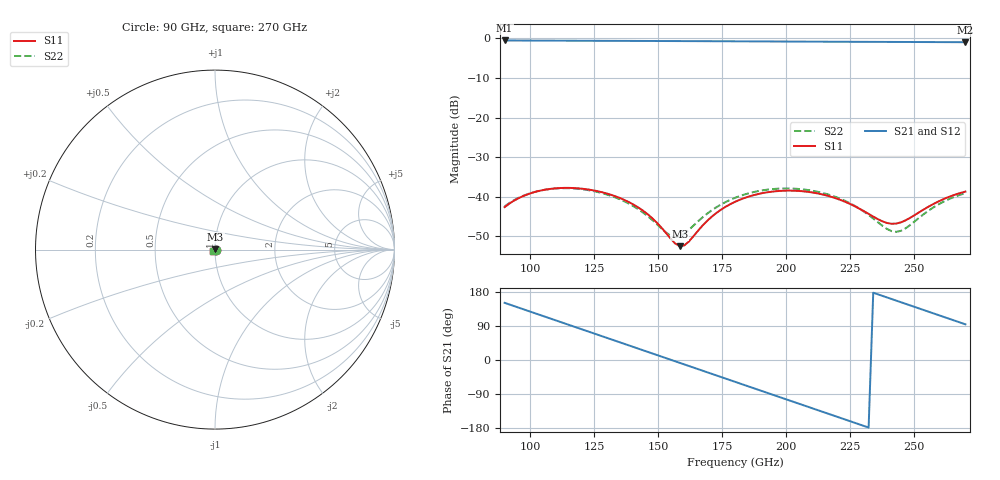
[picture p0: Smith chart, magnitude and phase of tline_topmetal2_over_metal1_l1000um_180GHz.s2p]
#  GHZ S DB R 50
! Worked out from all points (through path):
!   101 points, 90 GHz to 270 GHz, reference 50 ohm
!   highest |S21| = -0.50 dB at 90 GHz (marker M1); lowest = -0.9 dB at 270 GHz (marker M2)
!   group delay of S21, straight-line fit = 6.43 ps
!   lowest |S11| = -52.4 dB at 158.4 GHz (marker M3), VSWR 1.00, Z = 50.2 + j0.16 ohm
!   |S11| at or under -10 dB: start of sweep to end of sweep
!   |S22| runs from -50.2 to -37.8 dB; largest |S21 - S12| = 1.1e-14
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90  -42.59 -39.1  -0.50 150.9  -0.50 150.9  -42.41 -38.4
97.2  -39.81 -65.1  -0.52 134.2  -0.52 134.2  -39.74 -64.4
106.2  -38.14 -93.8  -0.54 113.3  -0.54 113.3  -38.15 -93.5
120.6  -37.96 -137.5  -0.58 80.0  -0.58 80.0  -38.10 -137.9
127.8  -38.79 -159.3  -0.60 63.4  -0.60 63.4  -39.01 -160.3
136.8  -40.77 172.2  -0.62 42.5  -0.62 42.5  -41.13 169.6
144  -43.45 146.4  -0.63 25.9  -0.63 25.9  -43.92 140.9
151.2  -47.71 111.6  -0.65 9.2  -0.65 9.2  -47.93 99.2
154.8  -50.50 83.9  -0.65 0.9  -0.65 0.9  -49.78 66.8
158.4  -52.44 41.9  -0.66 -7.5  -0.66 -7.5  -49.98 27.5
162  -51.26 -3.4  -0.67 -15.8  -0.67 -15.8  -48.32 -6.9
169.2  -46.01 -56.0  -0.69 -32.5  -0.69 -32.5  -44.20 -51.2
180  -41.25 -99.7  -0.72 -57.5  -0.72 -57.5  -40.24 -94.0
194.4  -38.68 -146.6  -0.76 -90.9  -0.76 -90.9  -38.04 -140.9
201.6  -38.42 -169.2  -0.78 -107.5  -0.78 -107.5  -37.88 -163.2
210.6  -38.92 162.1  -0.81 -128.3  -0.81 -128.3  -38.49 168.7
219.6  -40.39 131.3  -0.83 -149.1  -0.83 -149.1  -40.08 139.2
226.8  -42.37 102.8  -0.85 -165.8  -0.85 -165.8  -42.26 112.6
241.2  -46.79 13.0  -0.88 160.9  -0.88 160.9  -48.65 22.6
246.6  -45.93 -29.8  -0.89 148.4  -0.89 148.4  -47.96 -29.0
257.4  -41.83 -89.9  -0.91 123.3  -0.91 123.3  -42.71 -93.8
270  -38.67 -136.5  -0.95 94.1  -0.95 94.1  -39.06 -139.8
